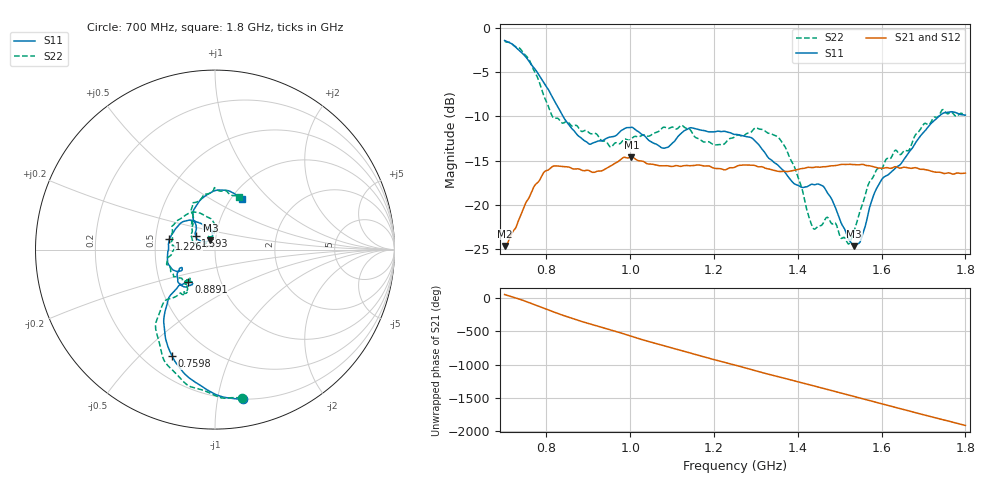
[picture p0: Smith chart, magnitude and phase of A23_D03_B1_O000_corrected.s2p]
! Created with skrf 1.9.0 (http://scikit-rf.org).
# Hz S RI R 50.0
!freq ReS11 ImS11 ReS21 ImS21 ReS12 ImS12 ReS22 ImS22
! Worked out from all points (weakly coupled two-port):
!   1601 points, 700 MHz to 1.8 GHz, reference 50 ohm
!   highest |S21| = -14.59 dB at 1.002 GHz (marker M1); lowest = -24.6 dB at 700.7 MHz (marker M2)
!   lowest |S11| = -24.6 dB at 1.535 GHz (marker M3), VSWR 1.12, Z = 47.3 + j5 ohm
!   |S11| at or under -10 dB: 839.6 MHz to 1.736 GHz (896.5 MHz wide, 69.6 % of centre)
!   |S22| runs from -24.4 to -1.5 dB; largest |S21 - S12| = 0.0035
!   S11 on the Smith chart (normalised r, x): 700 MHz: 0.20, -1.19; 759.8 MHz: 0.31, -0.63; 889.1 MHz: 0.70, -0.26; 1.226 GHz: 0.59, +0.08; 1.593 GHz: 0.80, +0.12; 1.8 GHz: 1.12, +0.71
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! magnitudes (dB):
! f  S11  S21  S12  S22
! 700 MHz  -1.4  -24.6  -24.4  -1.5
! 700.7 MHz  -1.4  -24.6  -24.3  -1.5
! 759.8 MHz  -3.9  -19.0  -18.9  -3.7
! 814.8 MHz  -7.9  -15.6  -15.7  -10.1
! 883.6 MHz  -12.5  -16.1  -15.9  -11.7
! 889.1 MHz  -12.7  -16.1  -16.0  -11.6
! 953 MHz  -12.3  -15.6  -15.6  -13.5
! 1.002 GHz  -11.2  -14.6  -14.7  -12.5
! 1.067 GHz  -13.3  -15.5  -15.5  -11.7
! 1.143 GHz  -11.3  -15.6  -15.5  -11.5
! 1.226 GHz  -11.7  -16.0  -16.0  -13.0
! 1.25 GHz  -12.0  -15.7  -15.6  -12.3
! 1.356 GHz  -15.7  -16.2  -16.1  -12.5
! 1.394 GHz  -17.7  -16.0  -16.0  -16.0
! 1.434 GHz  -17.7  -15.8  -15.7  -22.3
! 1.464 GHz  -18.1  -15.7  -15.6  -21.7
! 1.52 GHz  -23.8  -15.4  -15.4  -24.4
! 1.535 GHz  -24.6  -15.4  -15.4  -22.8
! 1.593 GHz  -17.7  -15.8  -15.8  -15.9
! 1.617 GHz  -16.5  -15.8  -15.8  -14.8
! 1.74 GHz  -9.8  -16.3  -16.3  -9.6
! 1.8 GHz  -9.8  -16.4  -16.4  -9.9
